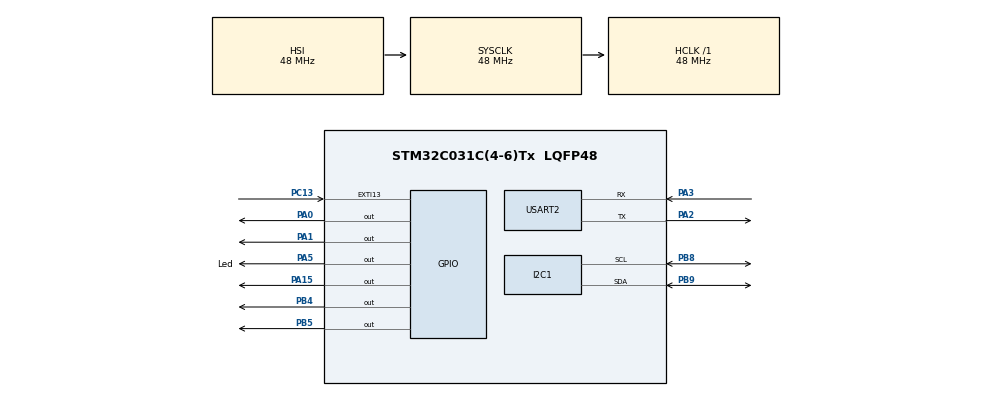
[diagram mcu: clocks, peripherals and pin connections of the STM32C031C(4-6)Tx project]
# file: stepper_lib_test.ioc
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I2C1.Timing=0x20303E5D
Mcu.Family=STM32C0
Mcu.Name=STM32C031C(4-6)Tx
Mcu.Package=LQFP48
NVIC.EXTI4_15_IRQn=true\:0\:0\:false\:false\:true\:true\:true\:true
NVIC.TIM14_IRQn=true\:0\:0\:false\:false\:true\:true\:true\:true
PA0.Signal=GPIO_Output
PA1.Signal=GPIO_Output
PA13.Mode=Serial_Wire
PA13.Signal=DEBUG_SWDIO
PA14-BOOT0.Mode=Serial_Wire
PA14-BOOT0.Signal=DEBUG_SWCLK
PA15.Signal=GPIO_Output
PA2.Mode=Asynchronous
PA2.Signal=USART2_TX
PA3.Mode=Asynchronous
PA3.Signal=USART2_RX
PA5.GPIO_Label=Led
PA5.GPIO_Speed=GPIO_SPEED_FREQ_VERY_HIGH
PA5.PinState=GPIO_PIN_SET
PA5.Signal=GPIO_Output
PB4.Signal=GPIO_Output
PB5.Signal=GPIO_Output
PB8.Mode=I2C
PB8.Signal=I2C1_SCL
PB9.Mode=I2C
PB9.Signal=I2C1_SDA
PC13.Signal=GPXTI13
PC14-OSCX_IN\ (PC14).Mode=LSE-External-Oscillator
PC14-OSCX_IN\ (PC14).Signal=RCC_OSCX_IN
PC15-OSCX_OUT\ (PC15).Mode=LSE-External-Oscillator
PC15-OSCX_OUT\ (PC15).Signal=RCC_OSCX_OUT
PF0-OSC_IN\ (PF0).Mode=HSE-External-Oscillator
PF0-OSC_IN\ (PF0).Signal=RCC_OSC_IN
PF1-OSC_OUT\ (PF1).Mode=HSE-External-Oscillator
PF1-OSC_OUT\ (PF1).Signal=RCC_OSC_OUT
ProjectManager.HeapSize=0x200
ProjectManager.StackSize=0x400
ProjectManager.TargetToolchain=STM32CubeIDE
RCC.ADCFreq_Value=48000000
RCC.AHBFreq_Value=48000000
RCC.CortexFreq_Value=48000000
RCC.EXTERNAL_CLOCK_VALUE=12288000
RCC.HCLKFreq_Value=48000000
RCC.HSE_VALUE=48000000
RCC.HSISYSCLKDivider=RCC_HSI_DIV1
RCC.HSI_VALUE=48000000
RCC.SYSCLKFreq_VALUE=48000000
TIM14.Period=100
TIM14.Prescaler=47
USART2.VirtualMode-Asynchronous=VM_ASYNC
VP_TIM14_VS_ClockSourceINT.Mode=Enable_Timer
board=NUCLEO-C031C6

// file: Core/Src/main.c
/* USER CODE BEGIN Header */
/**
  ******************************************************************************
  * @file           : main.c
  * @brief          : Main program body
  ******************************************************************************
  * @attention
  *
  * Copyright (c) 2024 STMicroelectronics.
  * All rights reserved.
  *
  * This software is licensed under terms that can be found in the LICENSE file
  * in the root directory of this software component.
  * If no LICENSE file comes with this software, it is provided AS-IS.
  *
  ******************************************************************************
  */
/* USER CODE END Header */
#include "main.h"

/* USER CODE BEGIN Includes */
#include <stdbool.h> //stepper using
#include "stepper_motor.h"
/* USER CODE END Includes */

I2C_HandleTypeDef hi2c1;

TIM_HandleTypeDef htim14;

UART_HandleTypeDef huart2;

void SystemClock_Config(void);
static void MX_GPIO_Init(void);
static void MX_I2C1_Init(void);
static void MX_USART2_UART_Init(void);
static void MX_TIM14_Init(void);

/* USER CODE BEGIN 0 */
unsigned int cnt14 = 0;
unsigned int set_interval = 1000, set_steps = 1000;
int checkpoint;
Stepper_Motor stepper;

/* USER CODE END 0 */

int main(void)
{

  /* MCU Configuration--------------------------------------------------------*/

  /* Reset of all peripherals, Initializes the Flash interface and the Systick. */
  HAL_Init();

  /* Configure the system clock */
  SystemClock_Config();

  /* Initialize all configured peripherals */
  MX_GPIO_Init();
  MX_I2C1_Init();
  MX_USART2_UART_Init();
  MX_TIM14_Init();
  /* USER CODE BEGIN 2 */
  HAL_TIM_Base_Start_IT(&htim14); //for stepper_motor

	GPIO_TypeDef* ms_port[3] = {GPIOB, GPIOB, GPIOA};
	uint16_t ms_pin[3] = {GPIO_PIN_4, GPIO_PIN_5, GPIO_PIN_15};
	Stepper_Init(&stepper, GPIOA, GPIO_PIN_1, GPIOA, GPIO_PIN_0, ms_port, ms_pin, FULL);
	Step_Task tmp;
	for(int inter=10000; inter>=1000; inter-=1000)
	{
		tmp.steps = 1000;
		tmp.interval = inter;
		Stepper_Add_Task(&stepper, tmp);
	}
  /* USER CODE END 2 */

  /* Infinite loop */
  while (1)
  {

  }
}

void SystemClock_Config(void)
{
  RCC_OscInitTypeDef RCC_OscInitStruct = {0};
  RCC_ClkInitTypeDef RCC_ClkInitStruct = {0};

  /** Initializes the RCC Oscillators according to the specified parameters
  * in the RCC_OscInitTypeDef structure.
  */
  RCC_OscInitStruct.OscillatorType = RCC_OSCILLATORTYPE_HSI;
  RCC_OscInitStruct.HSIState = RCC_HSI_ON;
  RCC_OscInitStruct.HSIDiv = RCC_HSI_DIV1;
  RCC_OscInitStruct.HSICalibrationValue = RCC_HSICALIBRATION_DEFAULT;
  if (HAL_RCC_OscConfig(&RCC_OscInitStruct) != HAL_OK)
  {
    Error_Handler();
  }

  /** Initializes the CPU, AHB and APB buses clocks
  */
  RCC_ClkInitStruct.ClockType = RCC_CLOCKTYPE_HCLK|RCC_CLOCKTYPE_SYSCLK
                              |RCC_CLOCKTYPE_PCLK1;
  RCC_ClkInitStruct.SYSCLKSource = RCC_SYSCLKSOURCE_HSI;
  RCC_ClkInitStruct.SYSCLKDivider = RCC_SYSCLK_DIV1;
  RCC_ClkInitStruct.AHBCLKDivider = RCC_HCLK_DIV1;
  RCC_ClkInitStruct.APB1CLKDivider = RCC_APB1_DIV1;

  if (HAL_RCC_ClockConfig(&RCC_ClkInitStruct, FLASH_LATENCY_1) != HAL_OK)
  {
    Error_Handler();
  }
}

static void MX_I2C1_Init(void)
{

  hi2c1.Instance = I2C1;
  hi2c1.Init.Timing = 0x20303E5D;
  hi2c1.Init.OwnAddress1 = 0;
  hi2c1.Init.AddressingMode = I2C_ADDRESSINGMODE_7BIT;
  hi2c1.Init.DualAddressMode = I2C_DUALADDRESS_DISABLE;
  hi2c1.Init.OwnAddress2 = 0;
  hi2c1.Init.OwnAddress2Masks = I2C_OA2_NOMASK;
  hi2c1.Init.GeneralCallMode = I2C_GENERALCALL_DISABLE;
  hi2c1.Init.NoStretchMode = I2C_NOSTRETCH_DISABLE;
  if (HAL_I2C_Init(&hi2c1) != HAL_OK)
  {
    Error_Handler();
  }

  /** Configure Analogue filter
  */
  if (HAL_I2CEx_ConfigAnalogFilter(&hi2c1, I2C_ANALOGFILTER_ENABLE) != HAL_OK)
  {
    Error_Handler();
  }

  /** Configure Digital filter
  */
  if (HAL_I2CEx_ConfigDigitalFilter(&hi2c1, 0) != HAL_OK)
  {
    Error_Handler();
  }

}

static void MX_TIM14_Init(void)
{

  htim14.Instance = TIM14;
  htim14.Init.Prescaler = 47;
  htim14.Init.CounterMode = TIM_COUNTERMODE_UP;
  htim14.Init.Period = 100;
  htim14.Init.ClockDivision = TIM_CLOCKDIVISION_DIV1;
  htim14.Init.AutoReloadPreload = TIM_AUTORELOAD_PRELOAD_DISABLE;
  if (HAL_TIM_Base_Init(&htim14) != HAL_OK)
  {
    Error_Handler();
  }

}

static void MX_USART2_UART_Init(void)
{

  huart2.Instance = USART2;
  huart2.Init.BaudRate = 115200;
  huart2.Init.WordLength = UART_WORDLENGTH_8B;
  huart2.Init.StopBits = UART_STOPBITS_1;
  huart2.Init.Parity = UART_PARITY_NONE;
  huart2.Init.Mode = UART_MODE_TX_RX;
  huart2.Init.HwFlowCtl = UART_HWCONTROL_NONE;
  huart2.Init.OverSampling = UART_OVERSAMPLING_16;
  huart2.Init.OneBitSampling = UART_ONE_BIT_SAMPLE_DISABLE;
  huart2.Init.ClockPrescaler = UART_PRESCALER_DIV1;
  huart2.AdvancedInit.AdvFeatureInit = UART_ADVFEATURE_NO_INIT;
  if (HAL_UART_Init(&huart2) != HAL_OK)
  {
    Error_Handler();
  }

}

static void MX_GPIO_Init(void)
{
  GPIO_InitTypeDef GPIO_InitStruct = {0};

  /* GPIO Ports Clock Enable */
  __HAL_RCC_GPIOC_CLK_ENABLE();
  __HAL_RCC_GPIOF_CLK_ENABLE();
  __HAL_RCC_GPIOA_CLK_ENABLE();
  __HAL_RCC_GPIOB_CLK_ENABLE();

  /*Configure GPIO pin Output Level */
  HAL_GPIO_WritePin(GPIOA, GPIO_PIN_0|GPIO_PIN_1|GPIO_PIN_15, GPIO_PIN_RESET);

  /*Configure GPIO pin Output Level */
  HAL_GPIO_WritePin(Led_GPIO_Port, Led_Pin, GPIO_PIN_SET);

  /*Configure GPIO pin Output Level */
  HAL_GPIO_WritePin(GPIOB, GPIO_PIN_4|GPIO_PIN_5, GPIO_PIN_RESET);

  /*Configure GPIO pin : PC13 */
  GPIO_InitStruct.Pin = GPIO_PIN_13;
  GPIO_InitStruct.Mode = GPIO_MODE_IT_RISING;
  GPIO_InitStruct.Pull = GPIO_NOPULL;
  HAL_GPIO_Init(GPIOC, &GPIO_InitStruct);

  /*Configure GPIO pins : PA0 PA1 PA15 */
  GPIO_InitStruct.Pin = GPIO_PIN_0|GPIO_PIN_1|GPIO_PIN_15;
  GPIO_InitStruct.Mode = GPIO_MODE_OUTPUT_PP;
  GPIO_InitStruct.Pull = GPIO_NOPULL;
  GPIO_InitStruct.Speed = GPIO_SPEED_FREQ_LOW;
  HAL_GPIO_Init(GPIOA, &GPIO_InitStruct);

  /*Configure GPIO pin : Led_Pin */
  GPIO_InitStruct.Pin = Led_Pin;
  GPIO_InitStruct.Mode = GPIO_MODE_OUTPUT_PP;
  GPIO_InitStruct.Pull = GPIO_NOPULL;
  GPIO_InitStruct.Speed = GPIO_SPEED_FREQ_VERY_HIGH;
  HAL_GPIO_Init(Led_GPIO_Port, &GPIO_InitStruct);

  /*Configure GPIO pins : PB4 PB5 */
  GPIO_InitStruct.Pin = GPIO_PIN_4|GPIO_PIN_5;
  GPIO_InitStruct.Mode = GPIO_MODE_OUTPUT_PP;
  GPIO_InitStruct.Pull = GPIO_NOPULL;
  GPIO_InitStruct.Speed = GPIO_SPEED_FREQ_LOW;
  HAL_GPIO_Init(GPIOB, &GPIO_InitStruct);

  /* EXTI interrupt init*/
  HAL_NVIC_SetPriority(EXTI4_15_IRQn, 0, 0);
  HAL_NVIC_EnableIRQ(EXTI4_15_IRQn);

}

/* USER CODE BEGIN 4 */
void HAL_TIM_PeriodElapsedCallback(TIM_HandleTypeDef* htim)
{
	if(htim->Instance == TIM14)
	{
		if(cnt14 < 10000000)
			cnt14 ++;
		else
			cnt14 = 0;

		if(!Stepper_Empty(&stepper))
		{
			if(stepper.time >= Stepper_Current_Interval(&stepper))
			{
				checkpoint = 10-checkpoint;
				Stepper_Go_One_Step(&stepper);
				stepper.time = 0;
			}
			else
			{
				stepper.time += 100;
			}
		}
	}

}

void HAL_GPIO_EXTI_Rising_Callback(uint16_t GPIO_Pin)
{
	if(GPIO_Pin == GPIO_PIN_13) //Button
	{
		Step_Task tmp = {set_steps, set_interval};
		Stepper_Add_Task(&stepper, tmp);
	}
}

/* USER CODE END 4 */

void Error_Handler(void)
{
  __disable_irq();
  while (1)
  {
  }
}
